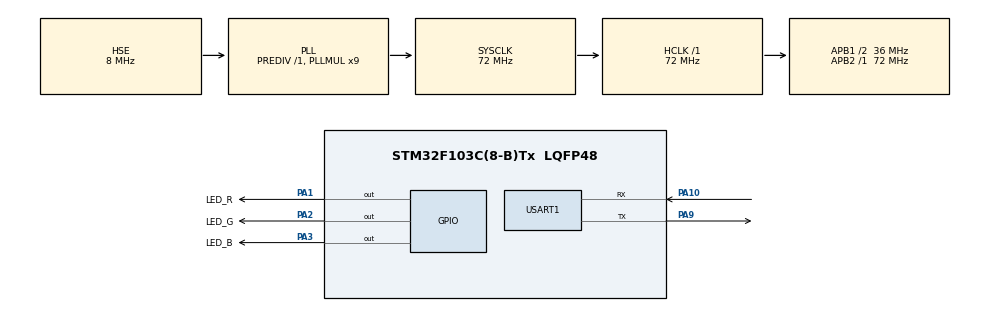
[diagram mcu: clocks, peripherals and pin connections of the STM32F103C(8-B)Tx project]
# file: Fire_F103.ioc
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Mcu.Family=STM32F1
Mcu.Name=STM32F103C(8-B)Tx
Mcu.Package=LQFP48
NVIC.PriorityGroup=NVIC_PRIORITYGROUP_4
NVIC.USART1_IRQn=true\:0\:0\:false\:false\:true\:true\:true\:true
PA1.GPIO_Label=LED_R
PA1.PinState=GPIO_PIN_SET
PA1.Signal=GPIO_Output
PA10.Mode=Asynchronous
PA10.Signal=USART1_RX
PA13.Mode=Serial_Wire
PA13.Signal=SYS_JTMS-SWDIO
PA14.Mode=Serial_Wire
PA14.Signal=SYS_JTCK-SWCLK
PA2.GPIO_Label=LED_G
PA2.PinState=GPIO_PIN_SET
PA2.Signal=GPIO_Output
PA3.GPIO_Label=LED_B
PA3.PinState=GPIO_PIN_SET
PA3.Signal=GPIO_Output
PA9.Mode=Asynchronous
PA9.Signal=USART1_TX
PC14-OSC32_IN.Mode=LSE-External-Oscillator
PC14-OSC32_IN.Signal=RCC_OSC32_IN
PC15-OSC32_OUT.Mode=LSE-External-Oscillator
PC15-OSC32_OUT.Signal=RCC_OSC32_OUT
PD0-OSC_IN.Mode=HSE-External-Oscillator
PD0-OSC_IN.Signal=RCC_OSC_IN
PD1-OSC_OUT.Mode=HSE-External-Oscillator
PD1-OSC_OUT.Signal=RCC_OSC_OUT
ProjectManager.HeapSize=0x200
ProjectManager.StackSize=0x400
ProjectManager.TargetToolchain=MDK-ARM V5.32
RCC.AHBFreq_Value=72000000
RCC.APB1CLKDivider=RCC_HCLK_DIV2
RCC.APB1Freq_Value=36000000
RCC.APB1TimFreq_Value=72000000
RCC.APB2Freq_Value=72000000
RCC.APB2TimFreq_Value=72000000
RCC.HCLKFreq_Value=72000000
RCC.PLLMUL=RCC_PLL_MUL9
RCC.PLLSourceVirtual=RCC_PLLSOURCE_HSE
RCC.SYSCLKFreq_VALUE=72000000
RCC.SYSCLKSource=RCC_SYSCLKSOURCE_PLLCLK
RCC.USBFreq_Value=72000000
USART1.VirtualMode=VM_ASYNC
board=custom

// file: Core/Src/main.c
/* USER CODE BEGIN Header */
/**
  ******************************************************************************
  * @file           : main.c
  * @brief          : WildFire STM32F103C8T6 RGB LED Controller (USART1 + SWD Mailbox)
  ******************************************************************************
  */
/* USER CODE END Header */
#include "main.h"
#include "gpio.h"
#include "usart.h"

/* USER CODE BEGIN PTD */
#define SWD_MAILBOX_MAGIC 0x4C454431UL /* "LED1" */

typedef enum
{
  LED_EFFECT_STATIC = 0U,
  LED_EFFECT_FLOW   = 1U,
  LED_EFFECT_BLINK  = 2U,
  LED_EFFECT_BREATH = 3U
} LedEffectMode;

/**
 * @brief Race-free 4-word memory-mapped SWD mailbox at 0x20000000 (.swd_mailbox):
 *   0x20000000 (magic)  : 0x4C454431 ("LED1") once initialized
 *   0x20000004 (cmd)    : Host writes ASCII command in [7:0]; MCU clears to 0 after handling
 *   0x20000008 (status) : Written only by MCU:
 *                           bits [7:0]   = current physical LED mask (bit0=R/PA1, bit1=G/PA2, bit2=B/PA3)
 *                           bits [15:8]  = LedEffectMode (0=STATIC, 1=FLOW, 2=BLINK, 3=BREATH)
 *                           bits [23:16] = last accepted ASCII command
 *                           bits [31:24] = base/target color mask
 *   0x2000000C (seq)    : Incremented by MCU after each accepted command
 */
typedef struct
{
  volatile uint32_t magic;
  volatile uint32_t cmd;
  volatile uint32_t status;
  volatile uint32_t seq;
} SwdLedMailbox;
/* USER CODE END PTD */

/* USER CODE BEGIN PD */
#define FLOW_INTERVAL_MS   280U
#define BLINK_INTERVAL_MS  250U
#define BREATH_PERIOD_MS   1600U
#define BREATH_PWM_STEPS   256U
/* USER CODE END PD */

/* USER CODE BEGIN PV */
/* Placed at 0x20000000 (.swd_mailbox section) for zero-halt SWD terminal control */
__attribute__((section(".swd_mailbox"), used)) static SwdLedMailbox g_swd_mailbox;

static LedEffectMode g_effect_mode = LED_EFFECT_STATIC;
static uint8_t g_static_mask = 0U;
static uint8_t g_effect_base_mask = 0x01U;
static uint8_t g_current_mask = 0U;
static uint8_t g_last_cmd = '0';
static uint8_t g_blink_on = 1U;
static uint8_t g_flow_step = 0U;
static uint32_t g_effect_last_tick = 0U;
static uint32_t g_breath_pwm_ticks = 72000U;
/* USER CODE END PV */

void SystemClock_Config(void);
/* USER CODE BEGIN PFP */
static uint16_t str_length(const char *str);
static void uart_send_str(const char *str);
static void uart_send_crlf(void);
static const char *mask_color_name(uint8_t mask);
static void sync_mailbox_status(void);
static void write_led_pins(uint8_t mask);
static void apply_led_mask(uint8_t mask);
static void send_uart_banner(void);
static void send_uart_ack(uint8_t cmd, const char *mode_desc, uint8_t mask);
static uint8_t handle_command_byte(uint8_t cmd, uint8_t send_ack);
static void update_dynamic_effect(void);
static void init_cycle_counter(void);
/* USER CODE END PFP */

/* USER CODE BEGIN 0 */
static uint16_t str_length(const char *str)
{
  uint16_t len = 0U;
  while ((uint8_t)str[len] != 0x00U)
  {
    len++;
  }
  return len;
}

static void uart_send_str(const char *str)
{
  USART1_WriteBytes((const uint8_t *)str, str_length(str));
}

static void uart_send_crlf(void)
{
  static const uint8_t kCrlf[2] = {0x0DU, 0x0AU};
  USART1_WriteBytes(kCrlf, sizeof(kCrlf));
}

static const char *mask_color_name(uint8_t mask)
{
  switch (mask & 0x07U)
  {
    case 0x00U: return "OFF";
    case 0x01U: return "RED";
    case 0x02U: return "GREEN";
    case 0x03U: return "YELLOW (R+G)";
    case 0x04U: return "BLUE";
    case 0x05U: return "PURPLE (R+B)";
    case 0x06U: return "CYAN (G+B)";
    case 0x07U: return "WHITE (R+G+B)";
    default:    return "OFF";
  }
}

static void sync_mailbox_status(void)
{
  uint8_t target_mask = (g_effect_mode == LED_EFFECT_STATIC)
                            ? (g_static_mask & 0x07U)
                            : (g_effect_base_mask & 0x07U);
  g_swd_mailbox.status = ((uint32_t)(g_current_mask & 0x07U))
                       | ((uint32_t)g_effect_mode << 8U)
                       | ((uint32_t)g_last_cmd << 16U)
                       | ((uint32_t)target_mask << 24U);
}

static void write_led_pins(uint8_t mask)
{
  uint8_t clean_mask = mask & 0x07U;
  /* Active-low RGB LEDs on WildFire STM32F103C8T6: PA1=Red, PA2=Green, PA3=Blue */
  uint32_t set_pins = 0U;
  uint32_t reset_pins = 0U;

  if ((clean_mask & 0x01U) != 0U) { reset_pins |= LED_R_Pin; } else { set_pins |= LED_R_Pin; }
  if ((clean_mask & 0x02U) != 0U) { reset_pins |= LED_G_Pin; } else { set_pins |= LED_G_Pin; }
  if ((clean_mask & 0x04U) != 0U) { reset_pins |= LED_B_Pin; } else { set_pins |= LED_B_Pin; }

  GPIOA->BSRR = set_pins | (reset_pins << 16U);
  g_current_mask = clean_mask;
}

static void apply_led_mask(uint8_t mask)
{
  write_led_pins(mask);
  sync_mailbox_status();
}

static void send_uart_banner(void)
{
  uart_send_crlf();
  uart_send_str(
      "[Fire_F103 RGB Ready] Commands: r=Red g=Green b=Blue | "
      "y=Yellow c=Cyan m=Purple w=White | f=Flow k=Blink e=Breath o/0=Off ?=Help");
  uart_send_crlf();
}

static void send_uart_ack(uint8_t cmd, const char *mode_desc, uint8_t mask)
{
  uint8_t prefix[6] = {'O', 'K', ':', cmd, '=', (uint8_t)('0' + (mask & 0x07U))};
  USART1_WriteBytes(prefix, sizeof(prefix));
  uart_send_str(" [");
  uart_send_str(mode_desc);
  uart_send_str("]");
  uart_send_crlf();
}

static uint8_t handle_command_byte(uint8_t cmd, uint8_t send_ack)
{
  /* Ignore whitespace and line endings so both raw and line-buffered terminals work */
  if (cmd == 0x0DU || cmd == 0x0AU || cmd == ' ' || cmd == 0x09U)
  {
    return 0U;
  }

  if (cmd == '?' || cmd == 'h' || cmd == 'H')
  {
    if (send_ack != 0U)
    {
      send_uart_banner();
    }
    return 1U;
  }

  if (cmd == 'f' || cmd == 'F')
  {
    g_effect_mode = LED_EFFECT_FLOW;
    g_flow_step = 0U;
    g_last_cmd = cmd;
    g_effect_base_mask = 0x01U;
    g_effect_last_tick = HAL_GetTick();
    apply_led_mask(0x01U);
    g_swd_mailbox.seq++;
    if (send_ack != 0U)
    {
      send_uart_ack(cmd, "FLOW (R->Y->G->C->B->M)", 0x01U);
    }
    return 1U;
  }

  if (cmd == 'k' || cmd == 'K')
  {
    g_effect_mode = LED_EFFECT_BLINK;
    if ((g_static_mask & 0x07U) != 0U)
    {
      g_effect_base_mask = g_static_mask & 0x07U;
    }
    else if ((g_effect_base_mask & 0x07U) == 0U)
    {
      g_effect_base_mask = 0x07U;
    }
    g_blink_on = 1U;
    g_last_cmd = cmd;
    g_effect_last_tick = HAL_GetTick();
    apply_led_mask(g_effect_base_mask);
    g_swd_mailbox.seq++;
    if (send_ack != 0U)
    {
      send_uart_ack(cmd, "BLINK", g_effect_base_mask);
    }
    return 1U;
  }

  if (cmd == 'e' || cmd == 'E')
  {
    g_effect_mode = LED_EFFECT_BREATH;
    if ((g_static_mask & 0x07U) != 0U)
    {
      g_effect_base_mask = g_static_mask & 0x07U;
    }
    else if ((g_effect_base_mask & 0x07U) == 0U)
    {
      g_effect_base_mask = 0x07U;
    }
    g_last_cmd = cmd;
    g_effect_last_tick = HAL_GetTick();
    apply_led_mask(g_effect_base_mask);
    g_swd_mailbox.seq++;
    if (send_ack != 0U)
    {
      send_uart_ack(cmd, "BREATH", g_effect_base_mask);
    }
    return 1U;
  }

  uint8_t mask = 0xFFU;
  if (cmd >= '0' && cmd <= '7')
  {
    mask = (uint8_t)(cmd - '0');
  }
  else if (cmd == 'r' || cmd == 'R')
  {
    mask = 0x01U;
  }
  else if (cmd == 'g' || cmd == 'G')
  {
    mask = 0x02U;
  }
  else if (cmd == 'b' || cmd == 'B')
  {
    mask = 0x04U;
  }
  else if (cmd == 'y' || cmd == 'Y')
  {
    mask = 0x03U;
  }
  else if (cmd == 'p' || cmd == 'P' || cmd == 'm' || cmd == 'M')
  {
    mask = 0x05U;
  }
  else if (cmd == 'c' || cmd == 'C')
  {
    mask = 0x06U;
  }
  else if (cmd == 'w' || cmd == 'W')
  {
    mask = 0x07U;
  }
  else if (cmd == 'o' || cmd == 'O')
  {
    mask = 0x00U;
  }

  if (mask != 0xFFU)
  {
    g_effect_mode = LED_EFFECT_STATIC;
    g_static_mask = mask & 0x07U;
    if (g_static_mask != 0U)
    {
      g_effect_base_mask = g_static_mask;
    }
    g_last_cmd = cmd;
    apply_led_mask(g_static_mask);
    g_swd_mailbox.seq++;
    if (send_ack != 0U)
    {
      send_uart_ack(cmd, mask_color_name(g_static_mask), g_static_mask);
    }
    return 1U;
  }

  return 0U;
}

static void init_cycle_counter(void)
{
  CoreDebug->DEMCR |= CoreDebug_DEMCR_TRCENA_Msk;
  DWT->CYCCNT = 0U;
  DWT->CTRL |= DWT_CTRL_CYCCNTENA_Msk;
  g_breath_pwm_ticks = SystemCoreClock / 1000U;
  if (g_breath_pwm_ticks == 0U)
  {
    g_breath_pwm_ticks = 72000U;
  }
}

static void update_dynamic_effect(void)
{
  if (g_effect_mode == LED_EFFECT_STATIC)
  {
    return;
  }

  uint32_t now = HAL_GetTick();
  if (g_effect_mode == LED_EFFECT_FLOW)
  {
    if ((now - g_effect_last_tick) >= FLOW_INTERVAL_MS)
    {
      static const uint8_t kFlowMasks[6] = {0x01U, 0x03U, 0x02U, 0x06U, 0x04U, 0x05U};
      g_effect_last_tick = now;
      g_flow_step = (uint8_t)((g_flow_step + 1U) % 6U);
      g_effect_base_mask = kFlowMasks[g_flow_step];
      apply_led_mask(g_effect_base_mask);
    }
  }
  else if (g_effect_mode == LED_EFFECT_BLINK)
  {
    if ((now - g_effect_last_tick) >= BLINK_INTERVAL_MS)
    {
      g_effect_last_tick = now;
      g_blink_on = (uint8_t)(!g_blink_on);
      apply_led_mask((g_blink_on != 0U) ? g_effect_base_mask : 0x00U);
    }
  }
  else if (g_effect_mode == LED_EFFECT_BREATH)
  {
    uint32_t phase = (now - g_effect_last_tick) % BREATH_PERIOD_MS;
    uint32_t half = BREATH_PERIOD_MS / 2U;
    uint32_t linear = (phase < half)
                          ? ((phase * BREATH_PWM_STEPS) / half)
                          : (((BREATH_PERIOD_MS - phase) * BREATH_PWM_STEPS) / half);
    /* Quadratic gamma curve for natural perceived brightness */
    uint32_t duty = (linear * linear) / BREATH_PWM_STEPS;
    uint32_t pwm_pos = ((DWT->CYCCNT % g_breath_pwm_ticks) * BREATH_PWM_STEPS) / g_breath_pwm_ticks;
    uint8_t on_mask = (pwm_pos < duty) ? g_effect_base_mask : 0x00U;
    if (on_mask != g_current_mask)
    {
      write_led_pins(on_mask);
    }
  }
}
/* USER CODE END 0 */

int main(void)
{
  /* MCU Configuration--------------------------------------------------------*/
  HAL_Init();
  SystemClock_Config();

  /* Initialize all configured peripherals */
  MX_GPIO_Init();
  MX_USART1_UART_Init();

  /* USER CODE BEGIN 2 */
  init_cycle_counter();

  g_swd_mailbox.cmd = 0U;
  g_swd_mailbox.seq = 0U;
  apply_led_mask(0x00U);
  __DMB();
  g_swd_mailbox.magic = SWD_MAILBOX_MAGIC;

  /* Boot self-check: quick R -> G -> B flash, then turn all off */
  apply_led_mask(0x01U);
  HAL_Delay(80);
  apply_led_mask(0x02U);
  HAL_Delay(80);
  apply_led_mask(0x04U);
  HAL_Delay(80);
  apply_led_mask(0x00U);

  send_uart_banner();
  /* USER CODE END 2 */

  /* Infinite loop */
  /* USER CODE BEGIN WHILE */
  while (1)
  {
    /* 1. Poll SWD SRAM mailbox (0x20000004) for zero-halt terminal commands */
    uint32_t swd_cmd_word = g_swd_mailbox.cmd;
    if (swd_cmd_word != 0U)
    {
      uint8_t swd_cmd = (uint8_t)(swd_cmd_word & 0xFFU);
      (void)handle_command_byte(swd_cmd, 0U);
      __DMB();
      g_swd_mailbox.cmd = 0U;
    }

    /* 2. Drain interrupt-driven USART1 RX ring buffer (PA9/PA10, 115200 8N1) */
    uint8_t rx_byte = 0U;
    while (USART1_TryReadByte(&rx_byte) != 0U)
    {
      (void)handle_command_byte(rx_byte, 1U);
    }

    /* 3. Advance non-blocking dynamic lighting effects (flow / blink / breath) */
    update_dynamic_effect();
    /* USER CODE END WHILE */

  }
}

void SystemClock_Config(void)
{
  RCC_OscInitTypeDef RCC_OscInitStruct = {0};
  RCC_ClkInitTypeDef RCC_ClkInitStruct = {0};

  RCC_OscInitStruct.OscillatorType = RCC_OSCILLATORTYPE_HSE;
  RCC_OscInitStruct.HSEState = RCC_HSE_ON;
  RCC_OscInitStruct.HSEPredivValue = RCC_HSE_PREDIV_DIV1;
  RCC_OscInitStruct.HSIState = RCC_HSI_ON;
  RCC_OscInitStruct.PLL.PLLState = RCC_PLL_ON;
  RCC_OscInitStruct.PLL.PLLSource = RCC_PLLSOURCE_HSE;
  RCC_OscInitStruct.PLL.PLLMUL = RCC_PLL_MUL9;
  if (HAL_RCC_OscConfig(&RCC_OscInitStruct) != HAL_OK)
  {
    /* Fallback to internal HSI / 2 * 16 = 64MHz if external crystal fails */
    RCC_OscInitStruct.OscillatorType = RCC_OSCILLATORTYPE_HSI;
    RCC_OscInitStruct.HSEState = RCC_HSE_OFF;
    RCC_OscInitStruct.HSIState = RCC_HSI_ON;
    RCC_OscInitStruct.HSICalibrationValue = RCC_HSICALIBRATION_DEFAULT;
    RCC_OscInitStruct.PLL.PLLState = RCC_PLL_ON;
    RCC_OscInitStruct.PLL.PLLSource = RCC_PLLSOURCE_HSI_DIV2;
    RCC_OscInitStruct.PLL.PLLMUL = RCC_PLL_MUL16;
    if (HAL_RCC_OscConfig(&RCC_OscInitStruct) != HAL_OK)
    {
      Error_Handler();
    }
  }

  RCC_ClkInitStruct.ClockType = RCC_CLOCKTYPE_HCLK | RCC_CLOCKTYPE_SYSCLK
                              | RCC_CLOCKTYPE_PCLK1 | RCC_CLOCKTYPE_PCLK2;
  RCC_ClkInitStruct.SYSCLKSource = RCC_SYSCLKSOURCE_PLLCLK;
  RCC_ClkInitStruct.AHBCLKDivider = RCC_SYSCLK_DIV1;
  RCC_ClkInitStruct.APB1CLKDivider = RCC_HCLK_DIV2;
  RCC_ClkInitStruct.APB2CLKDivider = RCC_HCLK_DIV1;

  if (HAL_RCC_ClockConfig(&RCC_ClkInitStruct, FLASH_LATENCY_2) != HAL_OK)
  {
    Error_Handler();
  }
}

void Error_Handler(void)
{
  __disable_irq();
  while (1)
  {
  }
}
